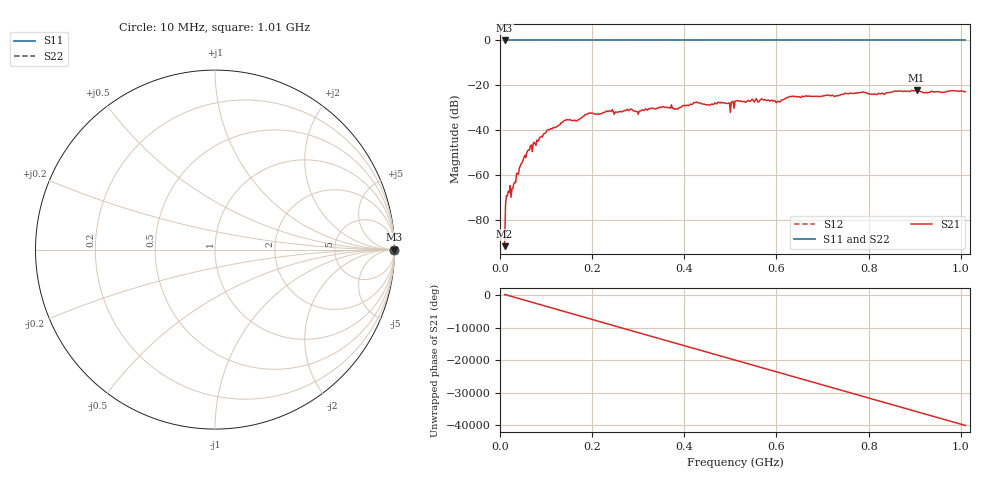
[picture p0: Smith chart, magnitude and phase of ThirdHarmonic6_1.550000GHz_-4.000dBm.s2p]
! 8/16/2025 6:23:37 PM
! C:\ANRITSUVNA\TEMP\TEMP.S2P
! CHANNEL.1
! TR.MEASUREMENT
! RAW.DATA
! RF.CORRECTION.OFF
! AVERAGING.OFF
! IF.BANDWIDTH: 5KHZ
! SWEEPTYPE:  FREQ.SWEEP(Linear)
! Reference Plane Port Info
! PORT:  PORT1  PORT2
! DISTANCE:  0  m  0  m
! TIME:  0  s  0  s
! PHASE.OFFSET:  0  deg.  0  deg.
! LOSS:  0  dB  0  dB
! REF.LOSS:  0  dB  0  dB
! REF.FREQ:  0  Hz  0  Hz
! Power Info
! POWER:  -20  dBm  -20  dBm
! EFF.POWER:  -20  dBm  -20  dBm
! SOURCE.ATTEN:  0  dB  0  dB
! TEST.ATTEN:  0  dB  0  dB
# GHZ S RI R 50.0
! FREQ.GHZ  S11RE  S11IM  S21RE  S21IM  S12RE  S12IM  S22RE  S22IM
!; PortSelection: Port_12
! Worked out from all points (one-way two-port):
!   501 points, 10 MHz to 1.01 GHz, reference 50 ohm
!   highest |S21| = -22.23 dB at 904 MHz (marker M1); lowest = -91.5 dB at 10 MHz (marker M2)
!   lowest |S11| = 0.0 dB at 10 MHz (marker M3)
!   |S11| at or under -10 dB: nowhere
!   |S22| runs from 0.0 to 0.0 dB; largest |S21 - S12| = 1.1
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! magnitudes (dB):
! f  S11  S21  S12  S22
! 10 MHz  0.0  -91.5  0.0  0.0
! 18 MHz  0.0  -67.1  0.0  0.0
! 28 MHz  0.0  -65.8  0.0  0.0
! 46 MHz  0.0  -54.9  0.0  0.0
! 64 MHz  0.0  -48.7  0.0  0.0
! 106 MHz  0.0  -39.7  0.0  0.0
! 142 MHz  0.0  -35.6  0.0  0.0
! 178 MHz  0.0  -34.3  0.0  0.0
! 196 MHz  0.0  -32.3  0.0  0.0
! 298 MHz  0.0  -31.7  0.0  0.0
! 344 MHz  0.0  -30.1  0.0  0.0
! 382 MHz  0.0  -30.4  0.0  0.0
! 424 MHz  0.0  -27.7  0.0  0.0
! 504 MHz  0.0  -27.3  0.0  0.0
! 510 MHz  0.0  -27.0  0.0  0.0
! 570 MHz  0.0  -26.1  0.0  0.0
! 604 MHz  0.0  -27.0  0.0  0.0
! 630 MHz  0.0  -24.8  0.0  0.0
! 678 MHz  0.0  -24.9  0.0  0.0
! 844 MHz  0.0  -23.2  0.0  0.0
! 904 MHz  0.0  -22.2  0.0  0.0
! 1.01 GHz  0.0  -22.8  0.0  0.0
